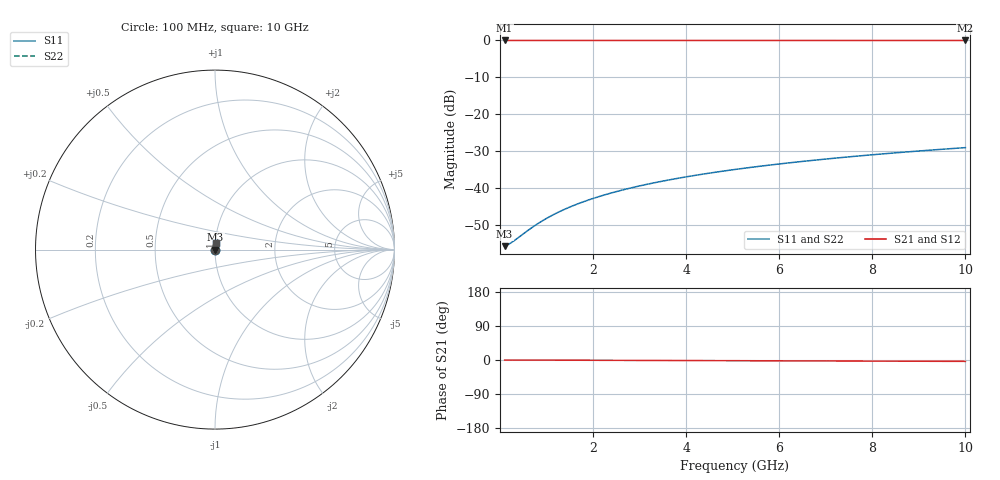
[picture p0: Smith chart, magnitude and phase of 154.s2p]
# Hz S RI R 50.00
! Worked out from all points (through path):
!   100 points, 100 MHz to 10 GHz, reference 50 ohm
!   highest |S21| = -0.01 dB at 100 MHz (marker M1); lowest = 0.0 dB at 10 GHz (marker M2)
!   lowest |S11| = -55.7 dB at 100 MHz (marker M3), VSWR 1.00, Z = 50.2 + j0.0354 ohm
!   |S11| at or under -10 dB: start of sweep to end of sweep
!   |S22| runs from -55.7 to -29.0 dB; largest |S21 - S12| = 0
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1e8  0.00161 0.000352  0.9984 -0.000633  0.9984 -0.000633  0.00161 0.000352
2e8  0.00162 0.000705  0.9984 -0.00127  0.9984 -0.00127  0.00162 0.000705
3e8  0.00163 0.00106  0.9984 -0.0019  0.9984 -0.0019  0.00163 0.00106
7e8  0.00165 0.00247  0.9983 -0.00443  0.9983 -0.00443  0.00165 0.00247
8e8  0.00166 0.00282  0.9983 -0.00506  0.9983 -0.00506  0.00166 0.00282
1e9  0.00168 0.00352  0.9983 -0.00633  0.9983 -0.00633  0.00168 0.00352
1.2e9  0.00169 0.00423  0.9983 -0.00759  0.9983 -0.00759  0.00169 0.00423
1.4e9  0.00171 0.00493  0.9983 -0.00886  0.9983 -0.00886  0.00171 0.00493
1.6e9  0.00173 0.00564  0.9983 -0.0101  0.9983 -0.0101  0.00173 0.00564
1.8e9  0.00175 0.00634  0.9982 -0.0114  0.9982 -0.0114  0.00175 0.00634
2.1e9  0.00178 0.0074  0.9982 -0.0133  0.9982 -0.0133  0.00178 0.0074
2.5e9  0.00183 0.00881  0.9981 -0.0158  0.9981 -0.0158  0.00183 0.00881
2.9e9  0.00188 0.0102  0.9981 -0.0184  0.9981 -0.0184  0.00188 0.0102
3.4e9  0.00196 0.012  0.998 -0.0215  0.998 -0.0215  0.00196 0.012
3.8e9  0.00203 0.0134  0.9979 -0.0241  0.9979 -0.0241  0.00203 0.0134
4.2e9  0.00211 0.0148  0.9978 -0.0266  0.9978 -0.0266  0.00211 0.0148
5.1e9  0.00231 0.018  0.9976 -0.0323  0.9976 -0.0323  0.00231 0.018
5.9e9  0.00252 0.0208  0.9973 -0.0373  0.9973 -0.0373  0.00252 0.0208
6.7e9  0.00275 0.0236  0.9971 -0.0424  0.9971 -0.0424  0.00275 0.0236
7.5e9  0.00302 0.0264  0.9967 -0.0475  0.9967 -0.0475  0.00302 0.0264
8.4e9  0.00335 0.0296  0.9963 -0.0532  0.9963 -0.0532  0.00335 0.0296
1e10  0.00403 0.0352  0.9955 -0.0633  0.9955 -0.0633  0.00403 0.0352
